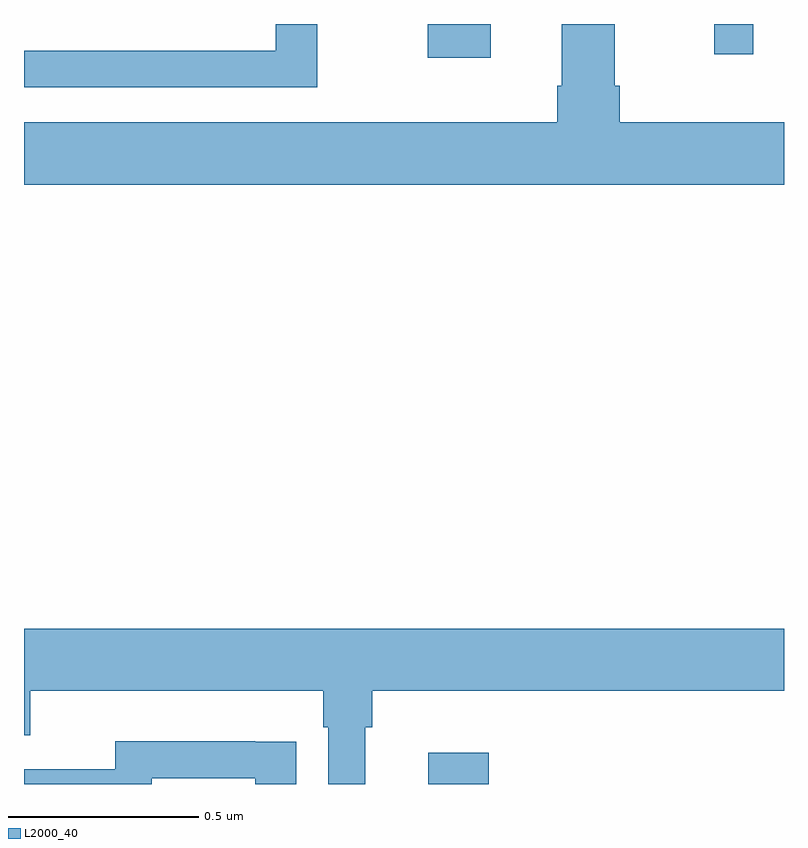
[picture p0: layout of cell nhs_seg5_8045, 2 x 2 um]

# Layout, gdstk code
import gdstk
lib = gdstk.Library(unit=1e-6, precision=1e-09)
def R(c, l, rs):  # rectangles x0, y0, x1, y1
    for r in rs: c.add(gdstk.rectangle(r[:2], r[2:], *l))
def P(c, l, *ps):  # polygons
    for p in ps: c.add(gdstk.Polygon(p, *l))
L2000_40 = (2000, 40)

nhs_seg5_8045 = lib.new_cell('nhs_seg5_8045')
R(nhs_seg5_8045, L2000_40, [(217.064,905.799,217.223,905.881), (217.063,907.71,217.228,907.799), (217.816,907.719,217.919,907.799)])
P(nhs_seg5_8045, L2000_40, [(218,907.54),(217.568,907.54),(217.568,907.636),(217.555,907.636),(217.555,907.799),(217.415,907.799),(217.415,907.636),(217.403,907.636),(217.403,907.54),(216,907.54),(216,907.376),(218,907.376)],
  [(216.772,907.799),(216.663,907.799),(216.663,907.728),(216,907.728),(216,907.632),(216.772,907.632)],
  [(216.898,905.948),(216.917,905.948),(216.917,906.044),(218,906.044),(218,906.208),(216,906.208),(216,905.927),(216.016,905.927),(216.016,906.044),(216.788,906.044),(216.788,905.948),(216.801,905.948),(216.801,905.799),(216.898,905.799)],
  [(216.336,905.814),(216.608,905.814),(216.608,905.799),(216.716,905.799),(216.716,905.91),(216.608,905.91),(216.608,905.911),(216.24,905.911),(216.24,905.838),(216,905.838),(216,905.799),(216.336,905.799)])

lib.write_gds('nhs_seg5_8045.gds')
